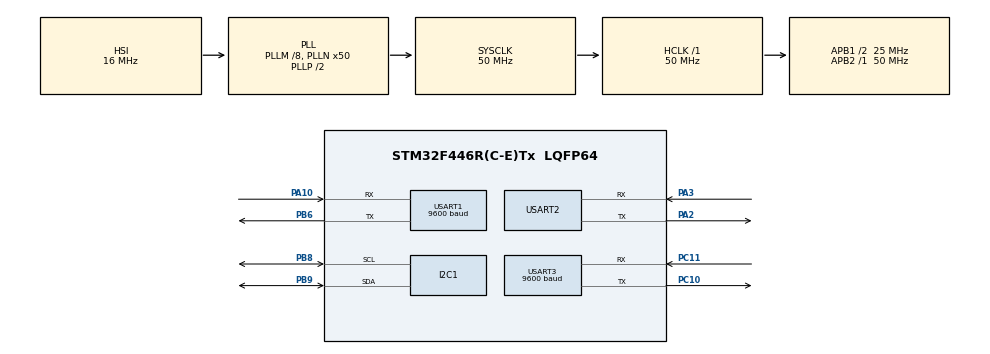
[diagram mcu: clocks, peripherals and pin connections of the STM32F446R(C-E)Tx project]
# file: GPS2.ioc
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Dma.Request0=USART3_RX
Dma.Request1=USART1_RX
Dma.USART1_RX.1.Direction=DMA_PERIPH_TO_MEMORY
Dma.USART1_RX.1.FIFOMode=DMA_FIFOMODE_DISABLE
Dma.USART1_RX.1.Instance=DMA2_Stream5
Dma.USART1_RX.1.MemDataAlignment=DMA_MDATAALIGN_BYTE
Dma.USART1_RX.1.MemInc=DMA_MINC_ENABLE
Dma.USART1_RX.1.Mode=DMA_CIRCULAR
Dma.USART1_RX.1.PeriphDataAlignment=DMA_PDATAALIGN_BYTE
Dma.USART1_RX.1.PeriphInc=DMA_PINC_DISABLE
Dma.USART1_RX.1.Priority=DMA_PRIORITY_LOW
Dma.USART3_RX.0.Direction=DMA_PERIPH_TO_MEMORY
Dma.USART3_RX.0.FIFOMode=DMA_FIFOMODE_DISABLE
Dma.USART3_RX.0.Instance=DMA1_Stream1
Dma.USART3_RX.0.MemDataAlignment=DMA_MDATAALIGN_BYTE
Dma.USART3_RX.0.MemInc=DMA_MINC_ENABLE
Dma.USART3_RX.0.Mode=DMA_CIRCULAR
Dma.USART3_RX.0.PeriphDataAlignment=DMA_PDATAALIGN_BYTE
Dma.USART3_RX.0.PeriphInc=DMA_PINC_DISABLE
Dma.USART3_RX.0.Priority=DMA_PRIORITY_LOW
Mcu.Family=STM32F4
Mcu.Name=STM32F446R(C-E)Tx
Mcu.Package=LQFP64
NVIC.DMA1_Stream1_IRQn=true\:0\:0\:false\:false\:true\:false\:true\:true
NVIC.DMA2_Stream5_IRQn=true\:0\:0\:false\:false\:true\:false\:true\:true
NVIC.PriorityGroup=NVIC_PRIORITYGROUP_4
PA10.Mode=Asynchronous
PA10.Signal=USART1_RX
PA13.Mode=Serial_Wire
PA13.Signal=SYS_JTMS-SWDIO
PA14.Mode=Serial_Wire
PA14.Signal=SYS_JTCK-SWCLK
PA2.Mode=Asynchronous
PA2.Signal=USART2_TX
PA3.Mode=Asynchronous
PA3.Signal=USART2_RX
PB6.Mode=Asynchronous
PB6.Signal=USART1_TX
PB8.Mode=I2C
PB8.Signal=I2C1_SCL
PB9.Mode=I2C
PB9.Signal=I2C1_SDA
PC10.Mode=Asynchronous
PC10.Signal=USART3_TX
PC11.Mode=Asynchronous
PC11.Signal=USART3_RX
ProjectManager.HeapSize=0x200
ProjectManager.StackSize=0x400
ProjectManager.TargetToolchain=STM32CubeIDE
RCC.AHBFreq_Value=50000000
RCC.APB1CLKDivider=RCC_HCLK_DIV2
RCC.APB1Freq_Value=25000000
RCC.APB1TimFreq_Value=50000000
RCC.APB2Freq_Value=50000000
RCC.APB2TimFreq_Value=50000000
RCC.CortexFreq_Value=50000000
RCC.HCLKFreq_Value=50000000
RCC.HSE_VALUE=25000000
RCC.PLLM=8
RCC.PLLN=50
RCC.PLLR=7
RCC.SYSCLKFreq_VALUE=50000000
RCC.SYSCLKSource=RCC_SYSCLKSOURCE_PLLCLK
RCC.USBFreq_Value=50000000
RCC.VCOOutputFreq_Value=100000000
USART1.BaudRate=9600
USART1.VirtualMode=VM_ASYNC
USART2.VirtualMode=VM_ASYNC
USART3.BaudRate=9600
USART3.VirtualMode=VM_ASYNC
board=custom

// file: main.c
/* USER CODE BEGIN Header */
/**
  ******************************************************************************
  * @file           : main.c
  * @brief          : Main program body
  ******************************************************************************
  * @attention
  *
  * Copyright (c) 2025 STMicroelectronics.
  * All rights reserved.
  *
  * This software is licensed under terms that can be found in the LICENSE file
  * in the root directory of this software component.
  * If no LICENSE file comes with this software, it is provided AS-IS.
  *
  ******************************************************************************
  */
/* USER CODE END Header */
#include "main.h"

/* USER CODE BEGIN Includes */
#include <stdio.h>
#include <string.h>
#include <stdlib.h>
/* USER CODE END Includes */

/* USER CODE BEGIN PD */
#define THRESHOLD_ACC 0.8        // Acceleration Threshold (g)
#define THRESHOLD_GYRO 3        // Gyroscope Threshold (°/s)

/* USER CODE END PD */

I2C_HandleTypeDef hi2c1;

UART_HandleTypeDef huart1;
UART_HandleTypeDef huart2;
UART_HandleTypeDef huart3;
DMA_HandleTypeDef hdma_usart1_rx;
DMA_HandleTypeDef hdma_usart3_rx;

/* USER CODE BEGIN PV */
uint8_t Rxdata[750];
char Txdata[750];
char GPS_Payyload[100];
uint8_t Flag=0;
static int Msgindex;
char *ptr;
float time,Latitude,Longitude;
char latDir, lonDir;
int Hours,Min,Sec;

char buffer[350];
uint8_t rec_data[6];
uint8_t Rec_Data[6];
int16_t X_acc;
int16_t Y_acc;
int16_t Z_acc;
int16_t Gyro_X;
int16_t Gyro_Y;
int16_t Gyro_Z;
float Ax,Ay,Az;
float Gx,Gy,Gz;

//uint8_t testBuffer[50]={"uoooooooooooo"};
/* USER CODE END PV */

void SystemClock_Config(void);
static void MX_GPIO_Init(void);
static void MX_DMA_Init(void);
static void MX_USART2_UART_Init(void);
static void MX_USART3_UART_Init(void);
static void MX_USART1_UART_Init(void);
static void MX_I2C1_Init(void);
/* USER CODE BEGIN PFP */
void get_location (void);
void format_data(float Time, float Lat, char LatDir, float Long, char LonDir);
float convertDMtoDD(float value, char direction);
//void GSM_Init(void);
void GSM_SendATCommand(char *cmd);
void GSM_ReceiveResponse(char *buffer, uint16_t size);
void i2c_ready(void);
void accl_read(void);
void MPU6050_Read_Gyro (void);

//void format_data(float Time,float Lat,float Long);
/* USER CODE END PFP */

/* USER CODE BEGIN 0 */
uint8_t StartMSG[] = "the device is getting ready";
uint8_t EndMSG[] = "not connected";
uint8_t StartMSG1[] = "configuring gyroscope";
uint8_t EndMSG1[] = "failed to configure gyroscope";
uint8_t StartMSG2[] = "configuring accelerometer";
uint8_t EndMSG2[] = "failed to configure accelerometer";
uint8_t StartMSG3[] = "exiting power mode";
uint8_t EndMSG3[] = "unable to exit";
/* USER CODE END 0 */

int main(void)
{

  /* MCU Configuration--------------------------------------------------------*/

  /* Reset of all peripherals, Initializes the Flash interface and the Systick. */
  HAL_Init();

  /* Configure the system clock */
  SystemClock_Config();

  /* Initialize all configured peripherals */
  MX_GPIO_Init();
  MX_DMA_Init();
  MX_USART2_UART_Init();
  MX_USART3_UART_Init();
  MX_USART1_UART_Init();
  MX_I2C1_Init();
  /* USER CODE BEGIN 2 */
HAL_UART_Receive_DMA(&huart3, (uint8_t*)Rxdata, 700);
//HAL_UART_Transmit_DMA(&huart1,"hello", 5);
//GSM_Init();
  /* USER CODE END 2 */
HAL_Delay(100);
void i2c_ready(void){
 HAL_UART_Transmit(&huart2, StartMSG, sizeof(StartMSG), 10000);
 HAL_StatusTypeDef ret = HAL_I2C_IsDeviceReady(&hi2c1,(0b1101000<<1) + 0, 1,
 100);
 if(ret==HAL_OK){
 HAL_UART_Transmit(&huart2, StartMSG, sizeof(StartMSG), 10000);
 }
 else
 {
 HAL_UART_Transmit(&huart2, EndMSG, sizeof(StartMSG), 10000);
 }
 uint8_t temp = 8;
 HAL_StatusTypeDef set = HAL_I2C_Mem_Write(&hi2c1, (0b1101000<<1) + 0, 27,
 1,&temp,1,100);
 if(set == HAL_OK){
 HAL_UART_Transmit(&huart2, StartMSG1, sizeof(StartMSG1), 10000);
 }
 else{
 HAL_UART_Transmit(&huart2, EndMSG1, sizeof(StartMSG1), 10000);
 }
 uint8_t temp1 = 8;
 HAL_StatusTypeDef set1 = HAL_I2C_Mem_Write(&hi2c1, (0b1101000<<1) +0, 28,1,&temp1,1,100);
 if(set1 == HAL_OK){
 HAL_UART_Transmit(&huart2, StartMSG2, sizeof(StartMSG2), 10000);
 }
 else{
 HAL_UART_Transmit(&huart2, EndMSG2, sizeof(StartMSG2), 10000);
 }
 uint8_t temp2 = 0;
 HAL_StatusTypeDef set2 = HAL_I2C_Mem_Write(&hi2c1,
(0b1101000<<1) + 0, 107,1,&temp2,1,100);
 if(set2 == HAL_OK){
 HAL_UART_Transmit(&huart2, StartMSG3,sizeof(StartMSG3), 10000);
 }
 else{
 HAL_UART_Transmit(&huart2, EndMSG3,sizeof(StartMSG3), 10000);
 }
}
  /* Infinite loop */
  /* USER CODE BEGIN WHILE */
  while (1)
  {

	  i2c_ready();
	  accl_read();
	  MPU6050_Read_Gyro();
	  float avg_acc = (abs(Ax) + abs(Ay) + abs(Az)) /2;
	  	  float avg_gyro = (fabs(Gx) + fabs(Gy) + fabs(Gz)) /2;

	  	  //if (avg_acc > THRESHOLD_ACC || avg_gyro > THRESHOLD_GYRO){
	  		  get_location();
	  		//format_data(float Time, float Lat, char LatDir, float Long, char LonDir);
	  		 //format_data();

	  	  //}
	  //HAL_Delay(1000);
    /* USER CODE END WHILE */

    /* USER CODE BEGIN 3 */

	// GSM_Init();

  }
  /* USER CODE END 3 */
}

void SystemClock_Config(void)
{
  RCC_OscInitTypeDef RCC_OscInitStruct = {0};
  RCC_ClkInitTypeDef RCC_ClkInitStruct = {0};

  /** Configure the main internal regulator output voltage
  */
  __HAL_RCC_PWR_CLK_ENABLE();
  __HAL_PWR_VOLTAGESCALING_CONFIG(PWR_REGULATOR_VOLTAGE_SCALE3);

  /** Initializes the RCC Oscillators according to the specified parameters
  * in the RCC_OscInitTypeDef structure.
  */
  RCC_OscInitStruct.OscillatorType = RCC_OSCILLATORTYPE_HSI;
  RCC_OscInitStruct.HSIState = RCC_HSI_ON;
  RCC_OscInitStruct.HSICalibrationValue = RCC_HSICALIBRATION_DEFAULT;
  RCC_OscInitStruct.PLL.PLLState = RCC_PLL_ON;
  RCC_OscInitStruct.PLL.PLLSource = RCC_PLLSOURCE_HSI;
  RCC_OscInitStruct.PLL.PLLM = 8;
  RCC_OscInitStruct.PLL.PLLN = 50;
  RCC_OscInitStruct.PLL.PLLP = RCC_PLLP_DIV2;
  RCC_OscInitStruct.PLL.PLLQ = 2;
  RCC_OscInitStruct.PLL.PLLR = 7;
  if (HAL_RCC_OscConfig(&RCC_OscInitStruct) != HAL_OK)
  {
    Error_Handler();
  }

  /** Initializes the CPU, AHB and APB buses clocks
  */
  RCC_ClkInitStruct.ClockType = RCC_CLOCKTYPE_HCLK|RCC_CLOCKTYPE_SYSCLK
                              |RCC_CLOCKTYPE_PCLK1|RCC_CLOCKTYPE_PCLK2;
  RCC_ClkInitStruct.SYSCLKSource = RCC_SYSCLKSOURCE_PLLCLK;
  RCC_ClkInitStruct.AHBCLKDivider = RCC_SYSCLK_DIV1;
  RCC_ClkInitStruct.APB1CLKDivider = RCC_HCLK_DIV2;
  RCC_ClkInitStruct.APB2CLKDivider = RCC_HCLK_DIV1;

  if (HAL_RCC_ClockConfig(&RCC_ClkInitStruct, FLASH_LATENCY_1) != HAL_OK)
  {
    Error_Handler();
  }
}

static void MX_I2C1_Init(void)
{

  hi2c1.Instance = I2C1;
  hi2c1.Init.ClockSpeed = 100000;
  hi2c1.Init.DutyCycle = I2C_DUTYCYCLE_2;
  hi2c1.Init.OwnAddress1 = 0;
  hi2c1.Init.AddressingMode = I2C_ADDRESSINGMODE_7BIT;
  hi2c1.Init.DualAddressMode = I2C_DUALADDRESS_DISABLE;
  hi2c1.Init.OwnAddress2 = 0;
  hi2c1.Init.GeneralCallMode = I2C_GENERALCALL_DISABLE;
  hi2c1.Init.NoStretchMode = I2C_NOSTRETCH_DISABLE;
  if (HAL_I2C_Init(&hi2c1) != HAL_OK)
  {
    Error_Handler();
  }

}

static void MX_USART1_UART_Init(void)
{

  huart1.Instance = USART1;
  huart1.Init.BaudRate = 9600;
  huart1.Init.WordLength = UART_WORDLENGTH_8B;
  huart1.Init.StopBits = UART_STOPBITS_1;
  huart1.Init.Parity = UART_PARITY_NONE;
  huart1.Init.Mode = UART_MODE_TX_RX;
  huart1.Init.HwFlowCtl = UART_HWCONTROL_NONE;
  huart1.Init.OverSampling = UART_OVERSAMPLING_16;
  if (HAL_UART_Init(&huart1) != HAL_OK)
  {
    Error_Handler();
  }

}

static void MX_USART2_UART_Init(void)
{

  huart2.Instance = USART2;
  huart2.Init.BaudRate = 115200;
  huart2.Init.WordLength = UART_WORDLENGTH_8B;
  huart2.Init.StopBits = UART_STOPBITS_1;
  huart2.Init.Parity = UART_PARITY_NONE;
  huart2.Init.Mode = UART_MODE_TX_RX;
  huart2.Init.HwFlowCtl = UART_HWCONTROL_NONE;
  huart2.Init.OverSampling = UART_OVERSAMPLING_16;
  if (HAL_UART_Init(&huart2) != HAL_OK)
  {
    Error_Handler();
  }

}

static void MX_USART3_UART_Init(void)
{

  huart3.Instance = USART3;
  huart3.Init.BaudRate = 9600;
  huart3.Init.WordLength = UART_WORDLENGTH_8B;
  huart3.Init.StopBits = UART_STOPBITS_1;
  huart3.Init.Parity = UART_PARITY_NONE;
  huart3.Init.Mode = UART_MODE_TX_RX;
  huart3.Init.HwFlowCtl = UART_HWCONTROL_NONE;
  huart3.Init.OverSampling = UART_OVERSAMPLING_16;
  if (HAL_UART_Init(&huart3) != HAL_OK)
  {
    Error_Handler();
  }

}

static void MX_DMA_Init(void)
{

  /* DMA controller clock enable */
  __HAL_RCC_DMA1_CLK_ENABLE();
  __HAL_RCC_DMA2_CLK_ENABLE();

  /* DMA interrupt init */
  /* DMA1_Stream1_IRQn interrupt configuration */
  HAL_NVIC_SetPriority(DMA1_Stream1_IRQn, 0, 0);
  HAL_NVIC_EnableIRQ(DMA1_Stream1_IRQn);
  /* DMA2_Stream5_IRQn interrupt configuration */
  HAL_NVIC_SetPriority(DMA2_Stream5_IRQn, 0, 0);
  HAL_NVIC_EnableIRQ(DMA2_Stream5_IRQn);

}

static void MX_GPIO_Init(void)
{

  /* GPIO Ports Clock Enable */
  __HAL_RCC_GPIOA_CLK_ENABLE();
  __HAL_RCC_GPIOC_CLK_ENABLE();
  __HAL_RCC_GPIOB_CLK_ENABLE();

}

/* USER CODE BEGIN 4 */

void HAL_UART_RxCpltCallback(UART_HandleTypeDef *huart)
{
    Flag = 1;
    HAL_UART_Receive_DMA(&huart3, (uint8_t*)Rxdata, 700);
    HAL_UART_Transmit(&huart3, (uint8_t*)"Data Received\n", 14, 100);
}

void get_location(void)
{
	 //char smsMessage[160];

    if (Flag == 1)
    {
        Msgindex = 0;

        strncpy(Txdata, (char*)Rxdata, sizeof(Txdata) - 1);
        Txdata[sizeof(Txdata) - 1] = '\0';

                if (strstr(Txdata, "$GPGGA")) {
                    HAL_UART_Transmit(&huart2, (uint8_t*)"GPGGA Message Found\n", 21, 100);
                } else {
                    HAL_UART_Transmit(&huart2, (uint8_t*)"No GPGGA Message\n", 18, 100);
                }
        HAL_UART_Transmit(&huart2, (uint8_t*)"Raw Data:\n", 10, 100);
               HAL_UART_Transmit(&huart2, (uint8_t*)Txdata, strlen(Txdata), 100);
                HAL_UART_Transmit(&huart2, (uint8_t*)"\n", 1, 100);

        ptr = strstr(Txdata, "GPGGA");
        if (ptr != NULL)
        {
            ptr += 6; // Move pointer past "GPRMC"

            char *endPtr = strchr(ptr, '\n');
                        if (endPtr)
                        {
                            size_t len = endPtr - ptr;
                            if (len > sizeof(GPS_Payyload) - 1) len = sizeof(GPS_Payyload) - 1;
                            strncpy(GPS_Payyload, ptr, len);
                            GPS_Payyload[len] = '\0';
                        }
                        HAL_UART_Transmit(&huart2, (uint8_t*)"GPS_Payyload:\n", 14, 100);
                                   HAL_UART_Transmit(&huart2, (uint8_t*)GPS_Payyload, strlen(GPS_Payyload), 100);
                                   HAL_UART_Transmit(&huart2, (uint8_t*)"\n", 1, 100);

       if (strstr(GPS_Payyload, ",N,") != NULL){
            // Extract Time, Latitude, Longitude
           // if  == 3)
    	   int parsed =  sscanf(GPS_Payyload, "%f,%f,%c,%f,%c", &time, &Latitude, &latDir, &Longitude, &lonDir);

    	   if (parsed ==5 ) {
    	       HAL_UART_Transmit(&huart2, (uint8_t*)"Parsing Success!\n", 17, 100);
    	       format_data(time, Latitude, latDir, Longitude, lonDir);

    	   } else {
    	       HAL_UART_Transmit(&huart2, (uint8_t*)"Parsing Failed!\n", 16, 100);
    	   }

       }
            HAL_Delay(1);
            Flag = 0;
        }

    }
    HAL_UART_Receive_DMA(&huart3, (uint8_t*)Rxdata, 700);
}
float convertDMtoDD(float value, char direction) {
    int degrees = (int)(value / 100);   // Extract degrees
    float minutes = value - (degrees * 100); // Extract minutes
    float decimalDegrees = degrees + (minutes / 60);

    // Apply direction correction
    if (direction == 'S' || direction == 'W') {
        decimalDegrees = -decimalDegrees;
    }

    return decimalDegrees;
}

void GSM_SendATCommand(char *cmd) {
    HAL_UART_Transmit(&huart1, (uint8_t*)cmd, strlen(cmd), HAL_MAX_DELAY);
    HAL_UART_Transmit(&huart2, (uint8_t*)cmd, strlen(cmd), HAL_MAX_DELAY);  // Debug to USART2
    HAL_Delay(500);
}

void GSM_ReceiveResponse(char *buffer, uint16_t size) {
    memset(buffer, 0, size);  // Clear buffer before receiving
    if (HAL_UART_Receive(&huart1, (uint8_t*)buffer, size, 5000) == HAL_OK) {
        HAL_UART_Transmit(&huart2, (uint8_t*)buffer, strlen(buffer), HAL_MAX_DELAY);
        // Debug output
    } else {
        HAL_UART_Transmit(&huart2, (uint8_t*)"No Response!\r\n", 14, HAL_MAX_DELAY);
    }
}
void accl_read(void){

HAL_I2C_Mem_Read(&hi2c1, (0b1101000<<1) + 1,0x3B,1, rec_data, 6, 100);
X_acc=(int16_t)(rec_data[0] << 8 | rec_data [1]);
Y_acc=(int16_t)(rec_data[2] << 8 | rec_data [3]);
Z_acc=(int16_t)(rec_data[4] << 8 | rec_data [5]);
        Ax = X_acc/ 16384.0;  // Assuming ±2g sensitivity
        Ay = Y_acc / 16384.0;
        Az = Z_acc / 16384.0;

// Format the data into a string using sprintf
 sprintf(buffer, "X_acc =%.5f\r\n",Ax);
 // Send the string through USART
 HAL_UART_Transmit(&huart2, (uint8_t*)buffer, strlen(buffer), 1000);
// Use 1000 ms as timeout
 HAL_Delay(1000); // Introduce a delay of 1 second
 sprintf(buffer, "Y_acc = %.5f\r\n",Ay);
 // Send the string through USART
 HAL_UART_Transmit(&huart2, (uint8_t*)buffer, strlen(buffer), 1000);
// Use 1000 ms as timeout
 HAL_Delay(1000); // Introduce a delay of 1 second
 sprintf(buffer, "Z_acc = %.5f\r\n",Az);
 // Send the string through USART
 HAL_UART_Transmit(&huart2, (uint8_t*)buffer, strlen(buffer),
1000); // Use 1000 ms as timeout
 HAL_Delay(1000); // Introduce a delay of 1 second
}
void MPU6050_Read_Gyro (void)
{

// Read 6 BYTES of data starting from GYRO_XOUT_H register
HAL_I2C_Mem_Read (&hi2c1, (0b1101000<<1) + 1, 0x43, 1, Rec_Data, 6,
1000);
Gyro_X = (int16_t)(Rec_Data[0] << 8 | Rec_Data [1]);
Gyro_Y = (int16_t)(Rec_Data[2] << 8 | Rec_Data [3]);
Gyro_Z = (int16_t)(Rec_Data[4] << 8 | Rec_Data [5]);

        Gx = Gyro_X / 131.0;      // Assuming ±250°/s sensitivity
        Gy = Gyro_Y / 131.0;
        Gz = Gyro_Z / 131.0;

sprintf(buffer, "Gyro_X = %.5f\r\n",Gx);
 // Send the string through
 HAL_UART_Transmit(&huart2,(uint8_t*)buffer, strlen(buffer), 1000); // Use 1000 ms as timeout
 HAL_Delay(1000);
 sprintf(buffer, "Gyro_Y = %.5f\r\n",Gy);
 //Send the string through USART

HAL_UART_Transmit(&huart2, (uint8_t*)buffer, strlen(buffer), 1000); // Use 1000ms as timeout

HAL_Delay(1000);
 sprintf(buffer, "Gyro_Z =%.5f\r\n",Gz);

 // Send the string through USART

 HAL_UART_Transmit(&huart2, (uint8_t*)buffer, strlen(buffer), 1000); //Use 1000 ms as timeout

 HAL_Delay(1000);

}

//void GSM_Init(void)
//{
//    uint8_t response[20];
//
//
//
//
//    // Send AT command to check module response
//    HAL_UART_Transmit(&huart1, (uint8_t*)"AT\r\n", 4, 1000);
//    HAL_Delay(2000);
//    HAL_UART_Receive(&huart1, response,strlen((char*)response) , 2000);
//    HAL_UART_Transmit(&huart2, response, strlen((char*)response), 1000);  // Debug output
//
//    if (strstr((char*)response, "OK") != NULL) {
//        HAL_UART_Transmit(&huart2, (uint8_t*)"GSM Ready\n", 10, 1000);
//    } else {
//        HAL_UART_Transmit(&huart2, (uint8_t*)"GSM Init Failed\n", 17, 1000);
//        return;
//    }
//
//    // Set SMS text mode
//    HAL_UART_Transmit(&huart1, (uint8_t*)"AT+CMGF=1\r\n", 11, 1000);
//    HAL_Delay(1000);
//    HAL_UART_Receive(&huart1, response, sizeof(response), 2000);
//    HAL_UART_Transmit(&huart2, response, strlen((char*)response), 1000);
//
//    if (strstr((char*)response, "OK") != NULL) {
//        HAL_UART_Transmit(&huart2, (uint8_t*)"SMS Mode Set\n", 13, 1000);
//    } else {
//        HAL_UART_Transmit(&huart2, (uint8_t*)"SMS Mode Failed\n", 16, 1000);
//    }
//}

void format_data(float Time, float Lat, char LatDir, float Long, char LonDir)
{
    char Data[100];
    char response[100];
    char smsMessage[160];
    Hours = (int)Time / 10000;
    Min = ((int)Time % 10000) / 100;
    Sec = ((int)Time % 100);

    // Convert UTC to IST
    Hours += 5;
    Min += 30;

    if (Min >= 60) {
        Min -= 60;
        Hours += 1;
    }
    if (Hours >= 24) {
        Hours -= 24; // Adjust for next day overflow
    }

    float lat_dd = convertDMtoDD(Latitude, latDir);
    float lon_dd = convertDMtoDD(Longitude, lonDir);

    sprintf(Data, "IST Time-%02d:%02d:%02d Lat-%f, Long-%f", Hours, Min, Sec, lat_dd, lon_dd);
    HAL_UART_Transmit(&huart2, (uint8_t*) Data, strlen(Data), HAL_MAX_DELAY);
    HAL_UART_Transmit(&huart2, (uint8_t*)"\r\n\n", 3, HAL_MAX_DELAY);

    sprintf(smsMessage,"Accident detected! Location: https://maps.google.com/?q=%.6f,%.6f",
                convertDMtoDD(Latitude, latDir), convertDMtoDD(Longitude, lonDir));

        // Send AT commands to GSM module via UART
//        HAL_UART_Transmit(&huart3, (uint8_t*)"AT\r\n", 4, 1000); // Check GSM module
//        HAL_Delay(1000);
//
//        HAL_UART_Transmit(&huart3, (uint8_t*)"AT+CMGF=1\r\n", 11, 1000); // Set SMS mode to text
//        HAL_Delay(1000);

//        HAL_UART_Transmit(&huart1, (uint8_t*)"AT+CMGS=\"+916238310278\"\r\n", 24, 1000); // Replace with your phone number
//        HAL_Delay(1000);
//
//        HAL_UART_Transmit(&huart1, (uint8_t*)smsMessage, strlen(smsMessage), 1000); // Send message
//        HAL_Delay(1000);
//
//        uint8_t ctrlZ = 26; // ASCII for Ctrl+Z (End SMS)
//        HAL_UART_Transmit(&huart1, &ctrlZ, 1, 1000);
//        HAL_Delay(1000);
    GSM_SendATCommand("AT+CMGF=1\r\n");
    GSM_ReceiveResponse(response, sizeof(response));
    HAL_UART_Transmit(&huart2, (uint8_t*)response, strlen(response), 1000);
    HAL_Delay(1000);

    // Step 6: Set recipient number
    GSM_SendATCommand("AT+CMGS=\"9562928527\"\r\n");
    HAL_Delay(2000);  // Ensure SIM800A is ready for message

    // Step 7: Send GPS location as an SMS
    GSM_SendATCommand(smsMessage);
    GSM_SendATCommand("\x1A\r\n");  // Ctrl+Z to end SMS
    GSM_ReceiveResponse(response, sizeof(response));
    HAL_UART_Transmit(&huart2, (uint8_t*)response, strlen(response), 1000);

}

/* USER CODE END 4 */

void Error_Handler(void)
{
  __disable_irq();
  while (1)
  {
  }
}
